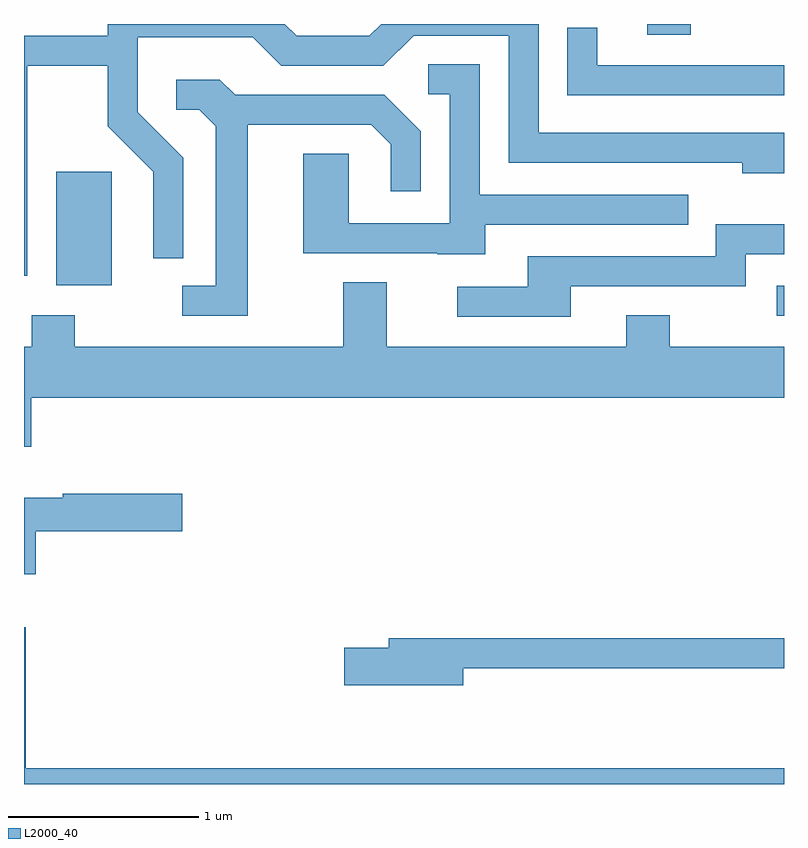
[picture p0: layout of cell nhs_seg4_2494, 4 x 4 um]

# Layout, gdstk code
import gdstk
lib = gdstk.Library(unit=1e-6, precision=1e-09)
def R(c, l, rs):  # rectangles x0, y0, x1, y1
    for r in rs: c.add(gdstk.rectangle(r[:2], r[2:], *l))
def P(c, l, *ps):  # polygons
    for p in ps: c.add(gdstk.Polygon(p, *l))
L2000_40 = (2000, 40)

nhs_seg4_2494 = lib.new_cell('nhs_seg4_2494')
R(nhs_seg4_2494, L2000_40, [(261.573,1348.446,261.611,1348.604), (257.781,1348.606,258.074,1349.204), (260.891,1349.926,261.119,1349.982)])
P(nhs_seg4_2494, L2000_40, [(257.629,1349.761),(258.051,1349.761),(258.051,1349.444),(258.291,1349.204),(258.291,1348.748),(258.449,1348.748),(258.449,1349.277),(258.209,1349.517),(258.209,1349.911),(258.814,1349.911),(258.964,1349.761),(259.502,1349.761),(259.662,1349.921),(260.161,1349.921),(260.161,1349.251),(261.391,1349.251),(261.391,1349.196),(261.611,1349.196),(261.611,1349.409),(260.319,1349.409),(260.319,1349.982),(259.492,1349.982),(259.429,1349.919),(259.046,1349.919),(258.983,1349.982),(258.051,1349.982),(258.051,1349.919),(257.611,1349.919),(257.611,1348.656),(257.629,1348.656)],
  [(261.611,1349.764),(260.629,1349.764),(260.629,1349.963),(260.471,1349.963),(260.471,1349.606),(261.611,1349.606)],
  [(260.039,1348.926),(261.108,1348.926),(261.108,1349.084),(260.009,1349.084),(260.009,1349.769),(259.738,1349.769),(259.738,1349.611),(259.851,1349.611),(259.851,1348.934),(259.319,1348.934),(259.319,1349.299),(259.081,1349.299),(259.081,1348.776),(259.785,1348.776),(259.785,1348.771),(260.039,1348.771)],
  [(258.789,1349.451),(259.439,1349.451),(259.541,1349.349),(259.541,1349.103),(259.699,1349.103),(259.699,1349.417),(259.507,1349.609),(258.722,1349.609),(258.642,1349.689),(258.413,1349.689),(258.413,1349.531),(258.534,1349.531),(258.621,1349.444),(258.621,1348.604),(258.443,1348.604),(258.443,1348.446),(258.789,1348.446)],
  [(260.489,1348.601),(261.409,1348.601),(261.409,1348.771),(261.611,1348.771),(261.611,1348.929),(261.251,1348.929),(261.251,1348.759),(260.261,1348.759),(260.261,1348.599),(259.892,1348.599),(259.892,1348.441),(260.489,1348.441)],
  [(257.649,1348.016),(261.611,1348.016),(261.611,1348.284),(261.009,1348.284),(261.009,1348.449),(260.781,1348.449),(260.781,1348.284),(259.519,1348.284),(259.519,1348.624),(259.291,1348.624),(259.291,1348.284),(257.879,1348.284),(257.879,1348.449),(257.651,1348.449),(257.651,1348.284),(257.611,1348.284),(257.611,1347.756),(257.649,1347.756)],
  [(257.674,1347.311),(258.444,1347.311),(258.444,1347.509),(257.816,1347.509),(257.816,1347.489),(257.611,1347.489),(257.611,1347.086),(257.674,1347.086)],
  [(261.611,1346.064),(257.619,1346.064),(257.619,1346.808),(257.611,1346.808),(257.611,1345.982),(261.611,1345.982)],
  [(259.924,1346.591),(261.611,1346.591),(261.611,1346.749),(259.531,1346.749),(259.531,1346.699),(259.296,1346.699),(259.296,1346.501),(259.924,1346.501)])

lib.write_gds('nhs_seg4_2494.gds')
